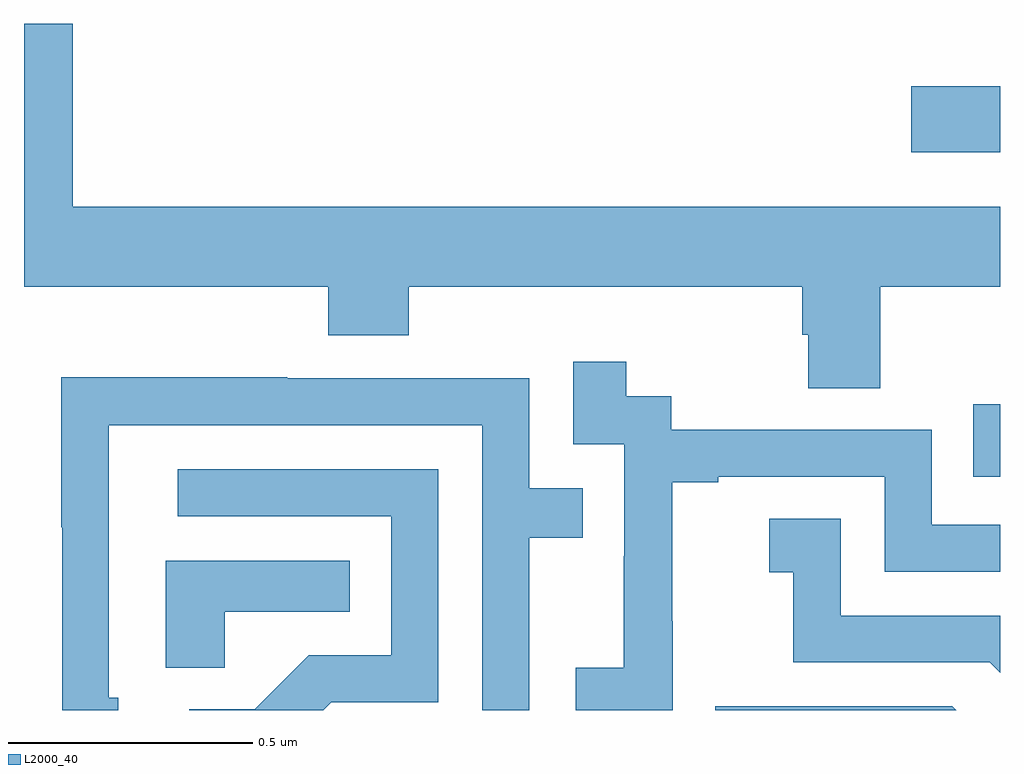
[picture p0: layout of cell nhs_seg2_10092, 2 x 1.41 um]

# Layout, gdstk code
import gdstk
lib = gdstk.Library(unit=1e-6, precision=1e-09)
def R(c, l, rs):  # rectangles x0, y0, x1, y1
    for r in rs: c.add(gdstk.rectangle(r[:2], r[2:], *l))
def P(c, l, *ps):  # polygons
    for p in ps: c.add(gdstk.Polygon(p, *l))
L2000_40 = (2000, 40)

nhs_seg2_10092 = lib.new_cell('nhs_seg2_10092')
R(nhs_seg2_10092, L2000_40, [(238.945,615.279,239,615.427), (238.818,615.944,239,616.079)])
P(nhs_seg2_10092, L2000_40, [(238.755,615.668),(239,615.668),(239,615.832),(237.1,615.832),(237.1,616.207),(237,616.207),(237,615.668),(237.623,615.668),(237.623,615.569),(237.788,615.569),(237.788,615.668),(238.595,615.668),(238.595,615.57),(238.607,615.57),(238.607,615.46),(238.755,615.46)],
  [(238.329,614.983),(238.328,614.983),(238.328,615.267),(238.423,615.267),(238.423,615.279),(238.764,615.279),(238.764,615.084),(239,615.084),(239,615.18),(238.86,615.18),(238.86,615.375),(238.326,615.375),(238.326,615.444),(238.234,615.444),(238.234,615.514),(238.125,615.514),(238.125,615.345),(238.23,615.345),(238.23,615.116),(238.229,615.116),(238.229,614.887),(238.131,614.887),(238.131,614.8),(238.329,614.8)],
  [(237.193,614.826),(237.174,614.826),(237.174,615.384),(237.939,615.384),(237.939,614.8),(238.035,614.8),(238.035,615.154),(238.145,615.154),(238.145,615.255),(238.035,615.255),(238.035,615.48),(237.539,615.48),(237.539,615.482),(237.076,615.482),(237.076,615.175),(237.078,615.175),(237.078,614.8),(237.193,614.8)],
  [(237.63,614.817),(237.849,614.817),(237.849,615.294),(237.315,615.294),(237.315,615.198),(237.753,615.198),(237.753,614.913),(237.584,614.913),(237.473,614.802),(237.339,614.802),(237.339,614.8),(237.613,614.8)],
  [(239,614.994),(238.674,614.994),(238.674,615.193),(238.527,615.193),(238.527,615.083),(238.576,615.083),(238.576,614.898),(238.979,614.898),(239,614.877)],
  [(237.411,615.002),(237.668,615.002),(237.668,615.106),(237.29,615.106),(237.29,614.887),(237.411,614.887)],
  [(238.902,614.808),(238.416,614.808),(238.416,614.8),(238.91,614.8)])

lib.write_gds('nhs_seg2_10092.gds')
